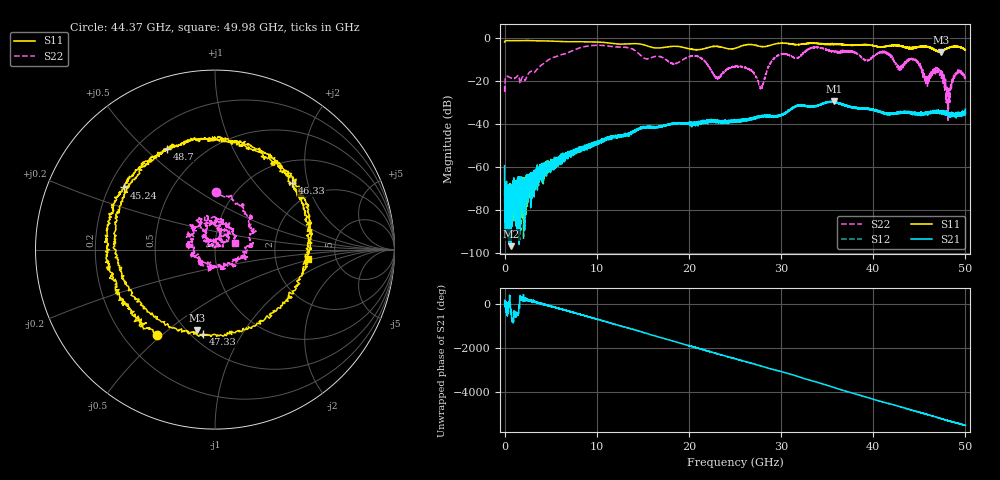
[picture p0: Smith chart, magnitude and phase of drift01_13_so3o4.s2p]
!Created with skrf (http://scikit-rf.org).
# Hz S RI R 50.0
!freq ReS11 ImS11 ReS21 ImS21 ReS12 ImS12 ReS22 ImS22
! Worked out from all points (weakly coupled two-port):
!   10001 points, 300 kHz to 50 GHz, reference 50 ohm
!   highest |S21| = -29.67 dB at 35.76 GHz (marker M1); lowest = -96.9 dB at 705.3 MHz (marker M2)
!   lowest |S11| = -6.8 dB at 47.37 GHz (marker M3), VSWR 2.70, Z = 27.9 - j31.7 ohm
!   |S11| at or under -10 dB: nowhere
!   |S22| runs from -39.0 to -3.6 dB; largest |S21 - S12| = 0.0044
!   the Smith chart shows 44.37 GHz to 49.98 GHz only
!   S11 on the Smith chart (normalised r, x): 44.37 GHz: 0.34, -0.48; 45.24 GHz: 0.26, +0.29; 46.33 GHz: 1.47, +1.60; 47.33 GHz: 0.57, -0.69; 48.7 GHz: 0.32, +0.58; 49.98 GHz: 3.11, -0.43
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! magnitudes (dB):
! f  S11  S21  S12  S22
! 300 kHz  -2.1  -59.5  -71.1  -22.4
! 255.3 MHz  -1.4  -77.7  -76.7  -18.0
! 705.3 MHz  -1.5  -96.9  -74.9  -18.8
! 8.335 GHz  -1.9  -52.6  -51.7  -4.6
! 16.67 GHz  -4.9  -41.3  -41.5  -8.7
! 20.97 GHz  -5.7  -39.7  -39.5  -8.7
! 23.07 GHz  -4.1  -39.4  -38.5  -18.6
! 25 GHz  -5.0  -38.9  -39.2  -13.6
! 27.84 GHz  -4.2  -36.6  -36.7  -22.7
! 29.47 GHz  -2.9  -36.6  -36.5  -8.8
! 33.34 GHz  -2.6  -32.0  -32.1  -4.7
! 35.76 GHz  -2.9  -29.7  -30.0  -6.7
! 41.67 GHz  -3.9  -36.0  -35.4  -7.6
! 44.37 GHz  -4.8  -35.3  -35.1  -9.9
! 45.24 GHz  -4.3  -35.6  -35.0  -14.2
! 46.33 GHz  -4.9  -34.8  -34.6  -16.0
! 47.33 GHz  -6.5  -34.9  -34.2  -15.4
! 47.37 GHz  -6.8  -34.5  -34.7  -16.6
! 48.13 GHz  -4.9  -34.9  -35.3  -39.0
! 48.7 GHz  -4.1  -35.5  -36.0  -18.5
! 49.98 GHz  -5.7  -34.7  -35.1  -18.6
! 50 GHz  -5.8  -33.3  -35.2  -18.6
